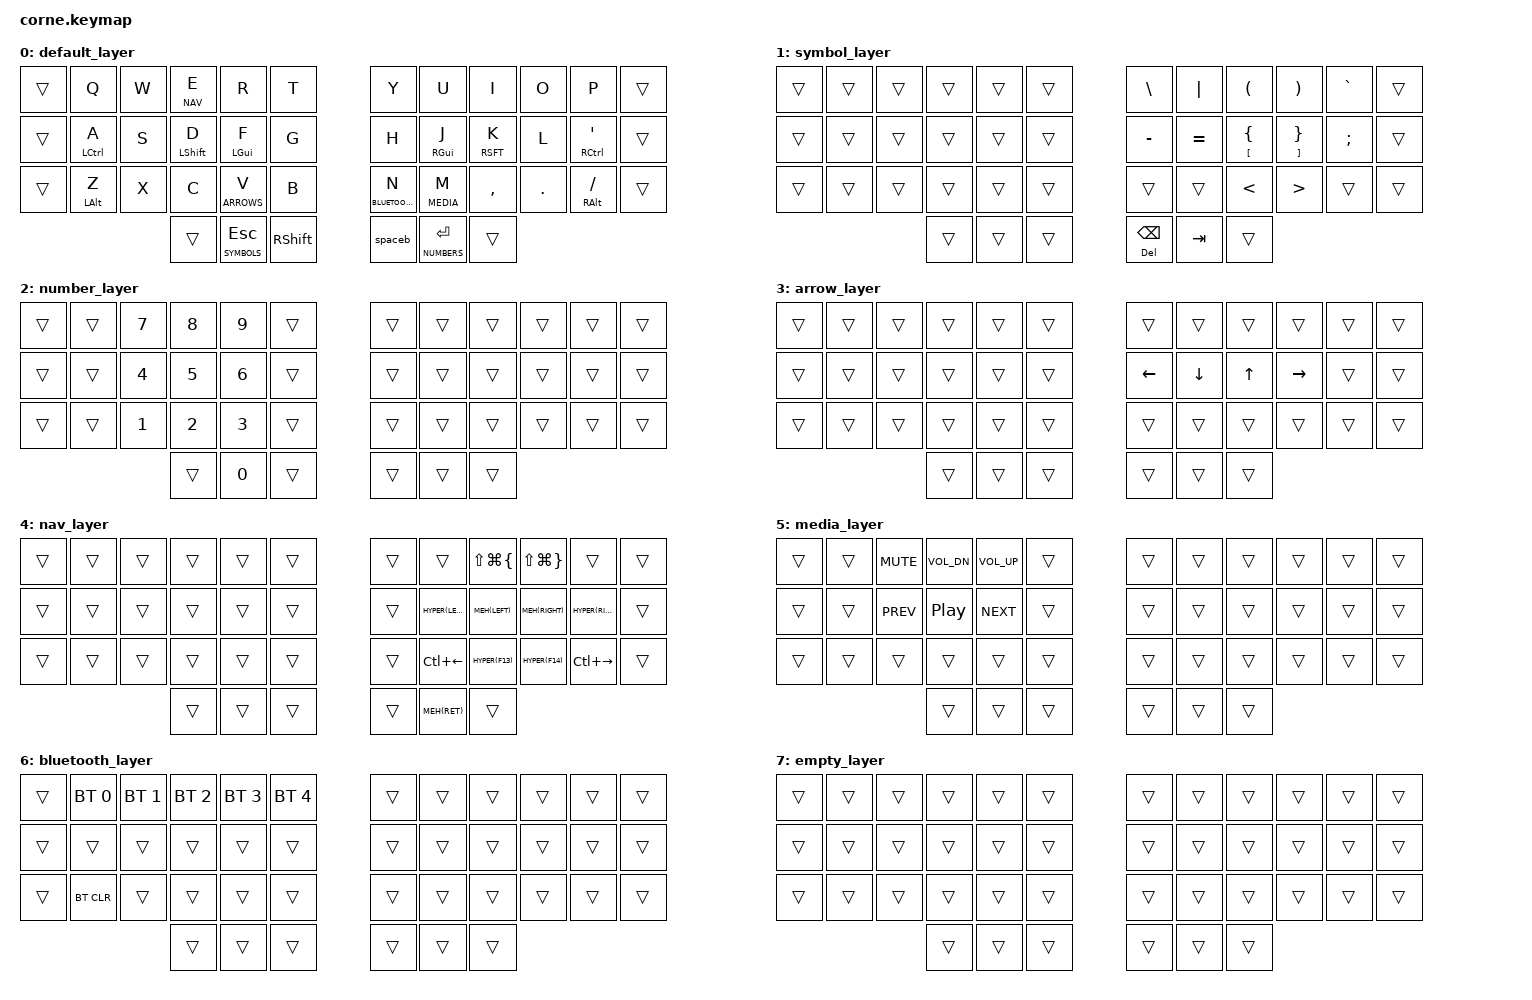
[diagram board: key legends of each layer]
/*
 * Copyright (c) 2020 The ZMK Contributors
 *
 * SPDX-License-Identifier: MIT
 */

#include <behaviors.dtsi>
#include <dt-bindings/zmk/keys.h>
#include <dt-bindings/zmk/bt.h>
#include <behaviors.dtsi>

// Layer Definitions
#define SYMBOLS 1
#define NUMBERS 2
#define ARROWS 3
#define NAV 4
#define MEDIA 5
#define BLUETOOTH 6

// Keycode Definitions
#define HYP LS(LC(LA(LGUI)))
#define HYPER(key) LS(LC(LA(LG(key))))
#define MEH(key) LS(LC(LA(key)))

&caps_word {
        continue-list = <A B C D E F G H I J K L M N O P Q R S T U V W X Y Z UNDERSCORE MINUS BSPC DEL SYMBOLS>;
};

/ {
        combos {
                compatible = "zmk,combos";

                combo_caps_word {
                        timeout-ms = <50>;
                        key-positions = <15 20>;
                        bindings = <&caps_word>;
                };
        };
};

/ {
        behaviors {
                bhm: balanced_homerow_mods {
                        compatible = "zmk,behavior-hold-tap";
                        label = "HOMEROW_MODS";
                        #binding-cells = <2>;
                        tapping-term-ms = <200>;
                        quick-tap-ms = <0>;
                        flavor = "balanced";
                        bindings = <&kp>, <&kp>;
                };

                ht_tp: tap_preferred_thumbkeys {
                        compatible = "zmk,behavior-hold-tap";
                        label = "TAP_PREFERRED_THUMBKEYS";
                        #binding-cells = <2>;
                        tapping-term-ms = <200>;
                        quick-tap-ms = <0>;
                        flavor = "tap-preferred";
                        bindings = <&kp>, <&kp>;
                };

                spaceb: space_backspace {
                        compatible = "zmk,behavior-mod-morph";
                        label = "SPACE_BACKSPACE";
                        #binding-cells = <0>;
                        bindings = <&ht_tp HYP SPACE>, <&ht_tp DEL BSPC>;
                        mods = <(MOD_RSFT)>;
                };
        };
        
        keymap {
                compatible = "zmk,keymap";
                
                default_layer {
                        bindings = <
   &trans &kp Q &kp W &lt NAV E &kp R &kp T                     &kp Y &kp U &kp I &kp O &kp P &trans
   &trans &bhm LCTRL A &kp S &bhm LSHFT D &bhm LGUI F &kp G     &kp H &bhm RGUI J &bhm RSFT K &kp L &bhm RCTRL APOS &trans
   &trans &bhm LALT Z  &kp X &kp C &lt ARROWS V                 &kp B &lt BLUETOOTH N &lt MEDIA M &kp COMMA &kp DOT &bhm RALT FSLH  &trans
                      &trans &lt SYMBOLS ESC &kp RSHFT          &spaceb &lt NUMBERS RET &trans
                        >;
                };

                symbol_layer {
                        bindings = <
&trans &trans &trans &trans &trans &trans       &kp BSLH    &kp PIPE    &kp LPAR &kp RPAR &kp GRAVE &trans
&trans &trans &trans &trans &trans &trans       &kp MINUS &kp EQUAL &ht_tp LBKT LBRC &ht_tp RBKT RBRC &kp SEMI  &trans
&trans &trans &trans &trans &trans &trans       &trans    &trans    &kp LT   &kp GT   &trans    &trans
                     &trans &trans &trans       &ht_tp DEL BSPC &kp TAB &trans         
                        >;
                };

                number_layer {
                        bindings = <
&trans &trans &kp N7 &kp N8 &kp N9 &trans       &trans &trans &trans &trans &trans &trans
&trans &trans &kp N4 &kp N5 &kp N6 &trans       &trans &trans &trans &trans &trans &trans
&trans &trans &kp N1 &kp N2 &kp N3 &trans       &trans &trans &trans &trans &trans &trans
                     &trans &kp N0 &trans       &trans &trans &trans         
                        >;
                };

                arrow_layer {
                        bindings = <
&trans &trans &trans &trans &trans &trans       &trans &trans &trans &trans &trans &trans
&trans &trans &trans &trans &trans &trans       &kp LEFT &kp DOWN &kp UP &kp RIGHT &trans &trans
&trans &trans &trans &trans &trans &trans       &trans &trans &trans &trans &trans &trans
                     &trans &trans &trans       &trans &trans &trans         
                        >;
                };
                
                nav_layer {
                        bindings = <
&trans &trans &trans &trans &trans &trans       &trans &trans &kp LS(LG(LBRC)) &kp LS(LG(RBRC)) &trans &trans
&trans &trans &trans &trans &trans &trans       &trans &kp HYPER(LEFT) &kp MEH(LEFT) &kp MEH(RIGHT) &kp HYPER(RIGHT) &trans
&trans &trans &trans &trans &trans &trans       &trans &kp LC(LEFT) &kp HYPER(F13) &kp HYPER(F14) &kp LC(RIGHT) &trans
                     &trans &trans &trans       &trans &kp MEH(RET) &trans         
                        >;
                };

                media_layer {
                        bindings = <
&trans &trans &kp K_MUTE &kp C_VOL_DN &kp C_VOL_UP &trans       &trans &trans &trans &trans &trans &trans
&trans &trans &kp C_PREV &kp C_PLAY_PAUSE &kp C_NEXT &trans       &trans &trans &trans &trans &trans &trans
&trans &trans &trans &trans &trans &trans                         &trans &trans &trans &trans &trans &trans
                     &trans &trans &trans                         &trans &trans &trans         
                        >;
                };

                bluetooth_layer {
                        bindings = <
&trans &bt BT_SEL 0 &bt BT_SEL 1 &bt BT_SEL 2 &bt BT_SEL 3 &bt BT_SEL 4         &trans &trans &trans &trans &trans &trans
&trans &trans &trans &trans &trans &trans                                       &trans &trans &trans &trans &trans &trans
&trans &bt BT_CLR &trans &trans &trans &trans                                       &trans &trans &trans &trans &trans &trans
                     &trans &trans &trans                                       &trans &trans &trans         
                        >;
                };

                empty_layer {
                        bindings = <
&trans &trans &trans &trans &trans &trans       &trans &trans &trans &trans &trans &trans
&trans &trans &trans &trans &trans &trans       &trans &trans &trans &trans &trans &trans
&trans &trans &trans &trans &trans &trans       &trans &trans &trans &trans &trans &trans
                     &trans &trans &trans       &trans &trans &trans         
                        >;
                };


        };
};
